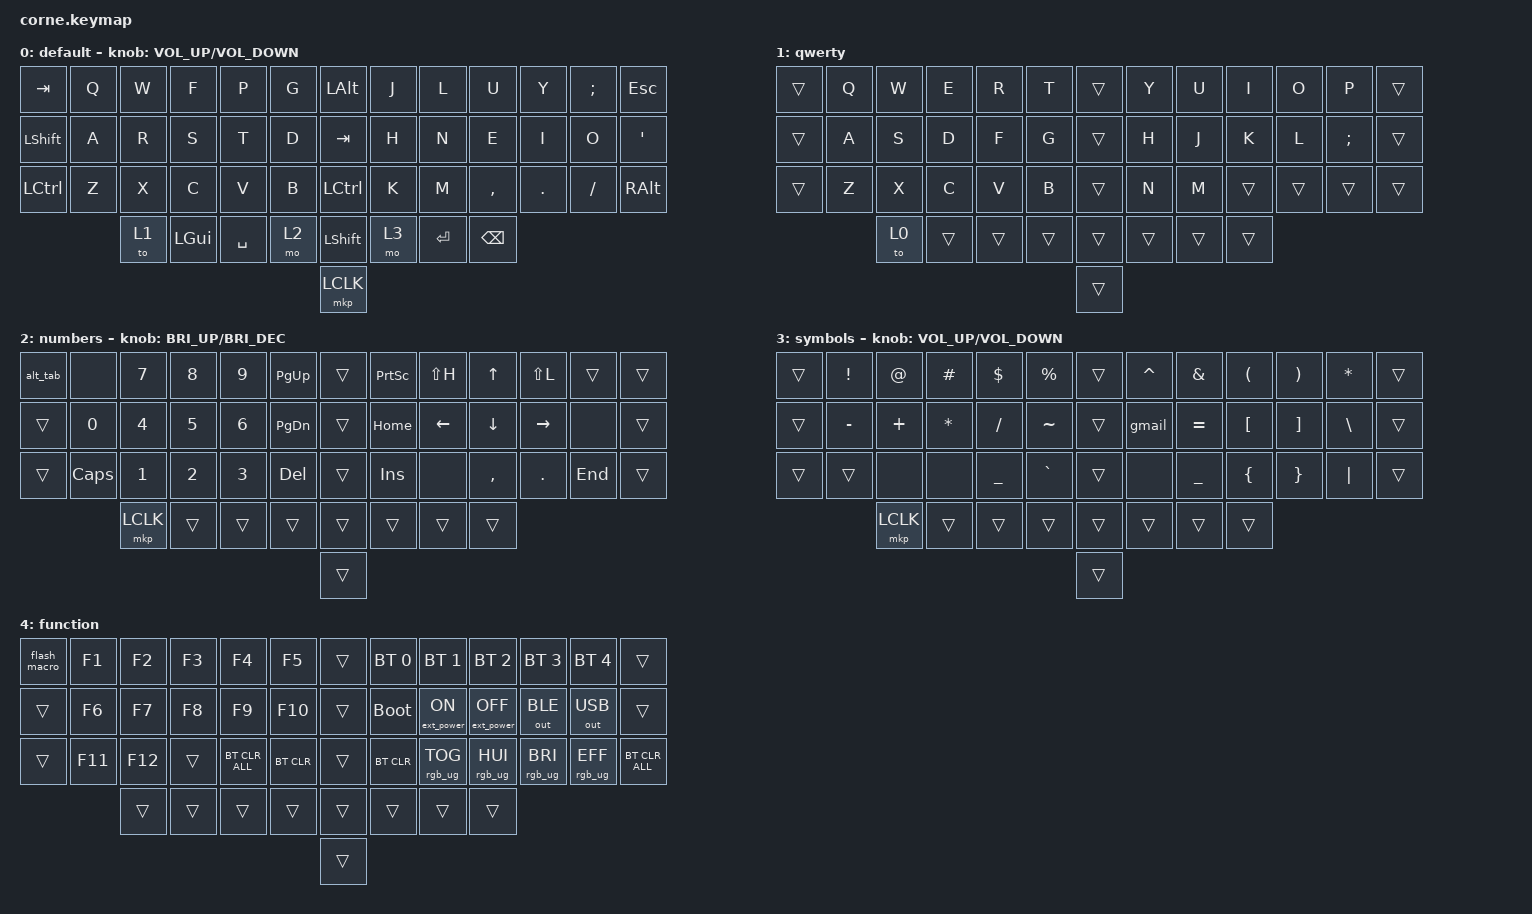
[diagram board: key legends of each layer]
#define U_MOUSE_MOVE_MAX 14000
#define ZMK_MOUSE_DEFAULT_SCRL_VAL 35 // 10

#include <behaviors/mouse_keys.dtsi>
#include <dt-bindings/zmk/mouse.h>
#include <behaviors.dtsi>
#include <dt-bindings/zmk/bt.h>
#include <dt-bindings/zmk/ext_power.h>
#include <dt-bindings/zmk/keys.h>
#include <dt-bindings/zmk/outputs.h>
#include <dt-bindings/zmk/rgb.h>

&msc {
    acceleration-exponent = <0>;      // 0
    time-to-max-speed-ms = <0>;       // 300
    delay-ms = <0>;                   // 0
};

&mmv {
    time-to-max-speed-ms = <100>;
    acceleration-exponent = <2>;
};

/ {
    macros {
        flash_macro: flash_macro {
            compatible = "zmk,behavior-macro";
            #binding-cells = <0>;
            bindings = <&bootloader>;
        };

        alt_f4: alt_f4 {
            compatible = "zmk,behavior-macro";
            #binding-cells = <0>;
            bindings = <&kp LA(F4)>;
            label = "ALT_F4";
        };

        new_macro: new_macro {
            compatible = "zmk,behavior-macro";
            #binding-cells = <0>;
            bindings = <&kp TAB>;
            label = "NEW_MACRO";
        };

        gmail: gmail {
            compatible = "zmk,behavior-macro";
            #binding-cells = <0>;
            bindings = <&none &kp V &kp A &kp L &kp E &kp N &kp T &kp I &kp N &kp DOT &kp S &kp O &kp L &kp T &kp Y &kp S &kp AT &kp G &kp M &kp A &kp I &kp L &kp DOT &kp C &kp O &kp M>;
            label = "GMAIL";
        };
    };

    behaviors {
        hm: homerow_mods {
            compatible = "zmk,behavior-hold-tap";
            label = "HOMEROW_MODS";
            bindings = <&kp>, <&kp>;

            #binding-cells = <2>;
            tapping-term-ms = <200>;
            quick-tap-ms = <180>;
            flavor = "tap-preferred";
        };

        ltq: ltq {
            compatible = "zmk,behavior-hold-tap";
            label = "LTQ";
            bindings = <&mo>, <&kp>;

            #binding-cells = <2>;
            tapping-term-ms = <200>;
            quick-tap-ms = <180>;
        };

        as: auto_shift {
            compatible = "zmk,behavior-hold-tap";
            label = "AUTO_SHIFT";
            bindings = <&kp>, <&kp>;

            #binding-cells = <2>;
            tapping-term-ms = <135>;
            quick-tap-ms = <0>;
        };

        rgb_encoder: rgb_encoder {
            compatible = "zmk,behavior-sensor-rotate";
            label = "RGB_ENCODER";
            #sensor-binding-cells = <0>;
            bindings = <&rgb_ug RGB_BRI>, <&rgb_ug RGB_BRD>;
        };

        scroll_encoder: scroll_encoder {
            compatible = "zmk,behavior-sensor-rotate";
            #sensor-binding-cells = <0>;
            bindings = <&msc SCRL_UP>, <&msc SCRL_DOWN>;

            tap-ms = <30>;
        };

        alt_tab: alt_tab {
            compatible = "zmk,behavior-tap-dance";
            label = "ALT_TAB";
            #binding-cells = <0>;
            bindings = <&kp LA(TAB)>, <&kp LC(LA(TAB))>;

            tapping-term-ms = <200>;
        };
        gui_alt_dance: gui_alt_dance {
            compatible = "zmk,behavior-tap-dance";
            label = "GUI_ALT_DANCE";
            #binding-cells = <0>;
            bindings = <&mt LEFT_ALT LEFT_GUI>, <&kp LEFT_WIN>;
        };
    };

    combos {
        compatible = "zmk,combos";

        ctrlh {
            bindings = <&kp LC(H)>;
            key-positions = <26 8>;
        };

        ctrll {
            bindings = <&kp LC(L)>;
            key-positions = <26 10>;
        };
    };

    keymap {
        compatible = "zmk,keymap";

        default {
            bindings = <
&kp TAB         &kp Q  &kp W  &kp F         &kp P      &kp G    &kp LEFT_ALT    &kp J  &kp L      &kp U          &kp Y    &kp SEMI  &kp ESCAPE
&kp LEFT_SHIFT  &kp A  &kp R  &kp S         &kp T      &kp D    &kp TAB        &kp H  &kp N      &kp E          &kp I    &kp O     &kp SQT
&kp LCTRL       &kp Z  &kp X  &kp C         &kp V      &kp B    &kp LCTRL       &kp K  &kp M      &kp COMMA      &kp DOT  &kp FSLH  &kp RIGHT_ALT
                       &to 1  &kp LEFT_GUI  &kp SPACE  &mo 2    &kp LEFT_SHIFT  &mo 3  &kp ENTER  &kp BACKSPACE
                                                                &mkp LCLK
            >;

            label = "default";
            sensor-bindings = <&inc_dec_kp C_VOL_UP C_VOLUME_DOWN>;
        };

        qwerty {
            bindings = <
&trans  &kp Q  &kp W  &kp E   &kp R   &kp T     &trans  &kp Y   &kp U   &kp I   &kp O   &kp P     &trans
&trans  &kp A  &kp S  &kp D   &kp F   &kp G     &trans  &kp H   &kp J   &kp K   &kp L   &kp SEMI  &trans
&trans  &kp Z  &kp X  &kp C   &kp V   &kp B     &trans  &kp N   &kp M   &trans  &trans  &trans    &trans
               &to 0  &trans  &trans  &trans    &trans  &trans  &trans  &trans
                                                &trans
            >;
        };

        numbers {
            bindings = <
&alt_tab  &none     &kp N7     &kp N8  &kp N9  &kp PG_UP    &trans  &kp PRINTSCREEN  &kp LS(H)  &kp UP     &kp LS(L)  &trans   &trans
&trans    &kp N0    &kp N4     &kp N5  &kp N6  &kp PG_DN    &trans  &kp HOME         &kp LEFT   &kp DOWN   &kp RIGHT  &none    &trans
&trans    &kp CAPS  &kp N1     &kp N2  &kp N3  &kp DEL      &trans  &kp INS          &none      &kp COMMA  &kp DOT    &kp END  &trans
                    &mkp LCLK  &trans  &trans  &trans       &trans  &trans           &trans     &trans
                                                            &trans
            >;

            label = "numbers";
            sensor-bindings = <&inc_dec_kp C_BRI_UP C_BRI_DEC>;
        };

        symbols {
            bindings = <
&trans  &kp EXCL   &kp AT     &kp HASH      &kp DLLR   &kp PRCNT    &trans  &kp CARET  &kp AMPS   &kp LPAR  &kp RPAR  &kp ASTRK  &trans
&trans  &kp MINUS  &kp PLUS   &kp ASTERISK  &kp SLASH  &kp TILDE    &trans  &gmail     &kp EQUAL  &kp LBKT  &kp RBKT  &kp BSLH   &trans
&trans  &trans     &none      &none         &kp UNDER  &kp GRAVE    &trans  &none      &kp UNDER  &kp LBRC  &kp RBRC  &kp PIPE   &trans
                   &mkp LCLK  &trans        &trans     &trans       &trans  &trans     &trans     &trans
                                                                    &trans
            >;

            label = "symbols";
            sensor-bindings = <&inc_dec_kp C_VOLUME_UP C_VOLUME_DOWN>;
        };

        function {
            bindings = <
&flash_macro  &kp F1   &kp F2   &kp F3  &kp F4          &kp F5        &trans  &bt BT_SEL 0  &bt BT_SEL 1      &bt BT_SEL 2       &bt BT_SEL 3     &bt BT_SEL 4     &trans
&trans        &kp F6   &kp F7   &kp F8  &kp F9          &kp F10       &trans  &bootloader   &ext_power EP_ON  &ext_power EP_OFF  &out OUT_BLE     &out OUT_USB     &trans
&trans        &kp F11  &kp F12  &trans  &bt BT_CLR_ALL  &bt BT_CLR    &trans  &bt BT_CLR    &rgb_ug RGB_TOG   &rgb_ug RGB_HUI    &rgb_ug RGB_BRI  &rgb_ug RGB_EFF  &bt BT_CLR_ALL
                       &trans   &trans  &trans          &trans        &trans  &trans        &trans            &trans
                                                                      &trans
            >;

            label = "function";
        };
    };

    conditional_layers {
        compatible = "zmk,conditional-layers";

        Flash {
            if-layers = <3 2>;
            then-layer = <4>;
        };
    };
};
